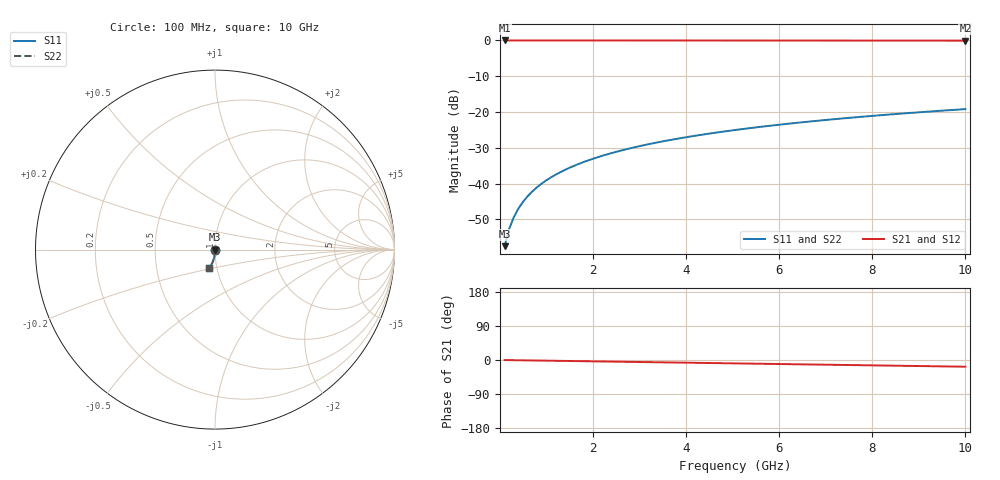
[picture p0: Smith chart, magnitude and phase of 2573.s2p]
# Hz S RI R 50.00
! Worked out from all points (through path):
!   100 points, 100 MHz to 10 GHz, reference 50 ohm
!   highest |S21| = -0.01 dB at 100 MHz (marker M1); lowest = -0.1 dB at 10 GHz (marker M2)
!   group delay of S21, straight-line fit = 4.92 ps
!   lowest |S11| = -57.5 dB at 100 MHz (marker M3), VSWR 1.00, Z = 50.1 - j0.111 ohm
!   |S11| at or under -10 dB: start of sweep to end of sweep
!   |S22| runs from -57.5 to -19.2 dB; largest |S21 - S12| = 0
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1e8  0.000734 -0.00111  0.9993 -0.00308  0.9993 -0.00308  0.000734 -0.00111
2e8  0.000727 -0.00223  0.9992 -0.00616  0.9992 -0.00616  0.000727 -0.00223
3e8  0.000711 -0.00334  0.9992 -0.00925  0.9992 -0.00925  0.000711 -0.00334
4e8  0.000688 -0.00445  0.9992 -0.0123  0.9992 -0.0123  0.000688 -0.00445
5e8  0.000658 -0.00556  0.9991 -0.0154  0.9991 -0.0154  0.000658 -0.00556
6e8  0.000621 -0.00668  0.999 -0.0185  0.999 -0.0185  0.000621 -0.00668
7e8  0.000576 -0.00779  0.999 -0.0216  0.999 -0.0216  0.000576 -0.00779
8e8  0.000525 -0.0089  0.9989 -0.0247  0.9989 -0.0247  0.000525 -0.0089
9e8  0.000466 -0.01  0.9988 -0.0277  0.9988 -0.0277  0.000466 -0.01
1.1e9  0.000328 -0.0122  0.9986 -0.0339  0.9986 -0.0339  0.000328 -0.0122
1.4e9  6.95e-05 -0.0156  0.9981 -0.0431  0.9981 -0.0431  6.95e-05 -0.0156
1.8e9  -0.000372 -0.02  0.9974 -0.0554  0.9974 -0.0554  -0.000372 -0.02
2.1e9  -0.000775 -0.0233  0.9968 -0.0647  0.9968 -0.0647  -0.000775 -0.0233
2.5e9  -0.00141 -0.0277  0.9958 -0.077  0.9958 -0.077  -0.00141 -0.0277
2.9e9  -0.00215 -0.0321  0.9946 -0.0893  0.9946 -0.0893  -0.00215 -0.0321
3.4e9  -0.00323 -0.0376  0.9929 -0.1046  0.9929 -0.1046  -0.00323 -0.0376
4.2e9  -0.00531 -0.0463  0.9896 -0.129  0.9896 -0.129  -0.00531 -0.0463
5.1e9  -0.00816 -0.0559  0.9851 -0.1564  0.9851 -0.1564  -0.00816 -0.0559
5.9e9  -0.0111 -0.0644  0.9804 -0.1806  0.9804 -0.1806  -0.0111 -0.0644
6.7e9  -0.0145 -0.0726  0.975 -0.2047  0.975 -0.2047  -0.0145 -0.0726
8.4e9  -0.0231 -0.0896  0.9614 -0.2552  0.9614 -0.2552  -0.0231 -0.0896
1e10  -0.0327 -0.1047  0.9459 -0.3018  0.9459 -0.3018  -0.0327 -0.1047
